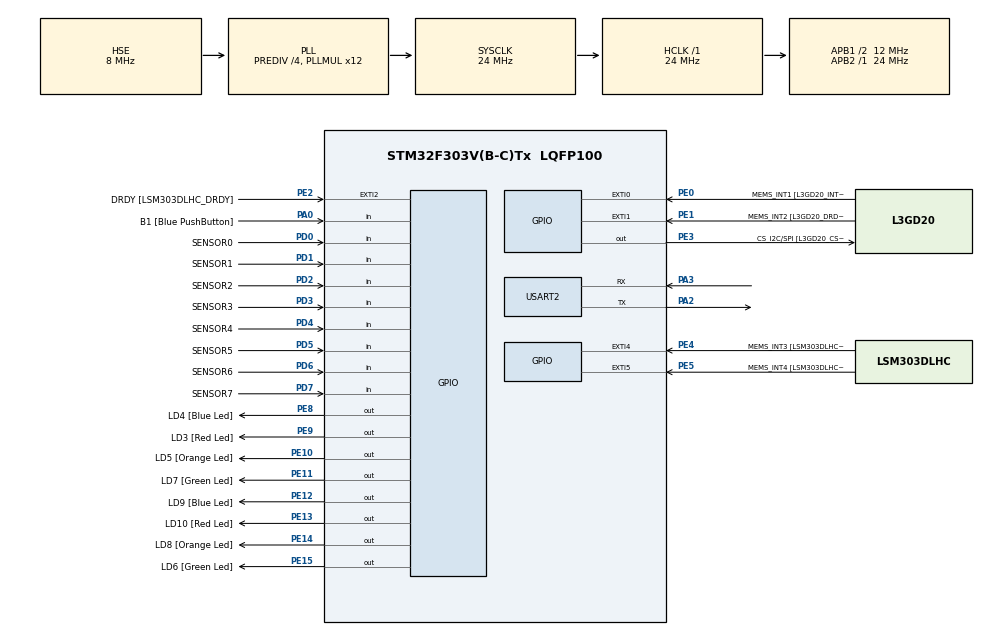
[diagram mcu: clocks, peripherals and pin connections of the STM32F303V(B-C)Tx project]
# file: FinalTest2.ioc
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Dma.Request0=USART2_RX
Dma.USART2_RX.0.Direction=DMA_PERIPH_TO_MEMORY
Dma.USART2_RX.0.Instance=DMA1_Channel6
Dma.USART2_RX.0.MemDataAlignment=DMA_MDATAALIGN_BYTE
Dma.USART2_RX.0.MemInc=DMA_MINC_ENABLE
Dma.USART2_RX.0.Mode=DMA_CIRCULAR
Dma.USART2_RX.0.PeriphDataAlignment=DMA_PDATAALIGN_BYTE
Dma.USART2_RX.0.PeriphInc=DMA_PINC_DISABLE
Dma.USART2_RX.0.Priority=DMA_PRIORITY_LOW
FREERTOS.BinarySemaphores01=myBinarySem01,Dynamic,NULL
FREERTOS.Tasks01=UartReciver,0,128,StartDefaultTask,Default,NULL,Dynamic,NULL,NULL
FREERTOS.Timers01=Refresher,RefreshCall,osTimerPeriodic,Default,NULL,Dynamic,NULL;Buzzertoggler,buzToggle,osTimerPeriodic,Default,NULL,Dynamic,NULL;UartSender,Callback03,osTimerPeriodic,Default,NULL,Dynamic,NULL
FREERTOS.configTOTAL_HEAP_SIZE=8192
FREERTOS.configUSE_TIMERS=1
Mcu.Family=STM32F3
Mcu.Name=STM32F303V(B-C)Tx
Mcu.Package=LQFP100
NVIC.DMA1_Channel6_IRQn=true\:5\:0\:false\:false\:true\:true\:false
NVIC.PriorityGroup=NVIC_PRIORITYGROUP_4
NVIC.TIM1_UP_TIM16_IRQn=true\:0\:0\:false\:false\:true\:false\:false
NVIC.TimeBase=TIM1_UP_TIM16_IRQn
NVIC.TimeBaseIP=TIM1
PA0.GPIO_Label=B1 [Blue PushButton]
PA0.GPIO_Mode=GPIO_MODE_INPUT
PA0.GPIO_PuPd=GPIO_NOPULL
PA0.Signal=GPIO_Input
PA11.GPIO_Label=DM
PA11.Signal=USB_DM
PA12.GPIO_Label=DP
PA12.Signal=USB_DP
PA13.GPIO_Label=SWDIO
PA13.Signal=SYS_JTMS-SWDIO
PA14.GPIO_Label=SWCLK
PA14.Signal=SYS_JTCK-SWCLK
PA2.Mode=Asynchronous
PA2.Signal=USART2_TX
PA3.Mode=Asynchronous
PA3.Signal=USART2_RX
PA5.GPIO_Label=SPI1_SCK [L3GD20_SCL/SPC]
PA5.GPIO_Mode=GPIO_MODE_AF_PP
PA5.GPIO_PuPd=GPIO_NOPULL
PA5.GPIO_Speed=GPIO_SPEED_FREQ_LOW
PA5.Signal=SPI1_SCK
PA6.GPIO_Label=SPI1_MISO [L3GD20_SA0/SDO]
PA6.GPIO_Mode=GPIO_MODE_AF_PP
PA6.GPIO_PuPd=GPIO_NOPULL
PA6.GPIO_Speed=GPIO_SPEED_FREQ_LOW
PA6.Signal=SPI1_MISO
PA7.GPIO_Label=SPI1_MISO [L3GD20_SDA/SDI/SDO]
PA7.GPIO_Mode=GPIO_MODE_AF_PP
PA7.GPIO_PuPd=GPIO_NOPULL
PA7.GPIO_Speed=GPIO_SPEED_FREQ_LOW
PA7.Signal=SPI1_MOSI
PB3.GPIO_Label=SWO
PB3.Signal=SYS_JTDO-TRACESWO
PB6.GPIO_FM6=__NULL
PB6.GPIO_Label=I2C1_SCL [LSM303DLHC_SCL]
PB6.GPIO_Mode=GPIO_MODE_AF_OD
PB6.GPIO_PuPd=GPIO_NOPULL
PB6.GPIO_Speed=GPIO_SPEED_FREQ_LOW
PB6.Signal=I2C1_SCL
PB7.GPIO_FM7=__NULL
PB7.GPIO_Label=I2C1_SDA [LSM303DLHC_SDA]
PB7.GPIO_Mode=GPIO_MODE_AF_OD
PB7.GPIO_PuPd=GPIO_NOPULL
PB7.GPIO_Speed=GPIO_SPEED_FREQ_LOW
PB7.Signal=I2C1_SDA
PC14-OSC32_IN.GPIO_Label=OSC32_IN
PC14-OSC32_IN.Signal=RCC_OSC32_IN
PC15-OSC32_OUT.GPIO_Label=OSC32_OUT
PC15-OSC32_OUT.Signal=RCC_OSC32_OUT
PD0.GPIO_Label=SENSOR0
PD0.GPIO_Mode=GPIO_MODE_INPUT
PD0.GPIO_PuPd=GPIO_PULLDOWN
PD0.Signal=GPIO_Input
PD1.GPIO_Label=SENSOR1
PD1.GPIO_Mode=GPIO_MODE_INPUT
PD1.GPIO_PuPd=GPIO_PULLDOWN
PD1.Signal=GPIO_Input
PD2.GPIO_Label=SENSOR2
PD2.GPIO_Mode=GPIO_MODE_INPUT
PD2.GPIO_PuPd=GPIO_PULLDOWN
PD2.Signal=GPIO_Input
PD3.GPIO_Label=SENSOR3
PD3.GPIO_Mode=GPIO_MODE_INPUT
PD3.GPIO_PuPd=GPIO_PULLDOWN
PD3.Signal=GPIO_Input
PD4.GPIO_Label=SENSOR4
PD4.GPIO_Mode=GPIO_MODE_INPUT
PD4.GPIO_PuPd=GPIO_PULLDOWN
PD4.Signal=GPIO_Input
PD5.GPIO_Label=SENSOR5
PD5.GPIO_Mode=GPIO_MODE_INPUT
PD5.GPIO_PuPd=GPIO_PULLDOWN
PD5.Signal=GPIO_Input
PD6.GPIO_Label=SENSOR6
PD6.GPIO_Mode=GPIO_MODE_INPUT
PD6.GPIO_PuPd=GPIO_PULLDOWN
PD6.Signal=GPIO_Input
PD7.GPIO_Label=SENSOR7
PD7.GPIO_Mode=GPIO_MODE_INPUT
PD7.GPIO_PuPd=GPIO_PULLDOWN
PD7.Signal=GPIO_Input
PE0.GPIO_Label=MEMS_INT1 [L3GD20_INT1]
PE0.GPIO_ModeDefaultEXTI=GPIO_MODE_EVT_RISING
PE0.GPIO_PuPd=GPIO_NOPULL
PE0.Signal=GPXTI0
PE1.GPIO_Label=MEMS_INT2 [L3GD20_DRDY/INT2]
PE1.GPIO_ModeDefaultEXTI=GPIO_MODE_EVT_RISING
PE1.GPIO_PuPd=GPIO_NOPULL
PE1.Signal=GPXTI1
PE10.GPIO_Label=LD5 [Orange Led]
PE10.GPIO_ModeDefaultOutputPP=GPIO_MODE_OUTPUT_PP
PE10.GPIO_PuPd=GPIO_NOPULL
PE10.GPIO_Speed=GPIO_SPEED_FREQ_LOW
PE10.Signal=GPIO_Output
PE11.GPIO_Label=LD7 [Green Led]
PE11.GPIO_ModeDefaultOutputPP=GPIO_MODE_OUTPUT_PP
PE11.GPIO_PuPd=GPIO_NOPULL
PE11.GPIO_Speed=GPIO_SPEED_FREQ_LOW
PE11.Signal=GPIO_Output
PE12.GPIO_Label=LD9 [Blue Led]
PE12.GPIO_ModeDefaultOutputPP=GPIO_MODE_OUTPUT_PP
PE12.GPIO_PuPd=GPIO_NOPULL
PE12.GPIO_Speed=GPIO_SPEED_FREQ_LOW
PE12.Signal=GPIO_Output
PE13.GPIO_Label=LD10 [Red Led]
PE13.GPIO_ModeDefaultOutputPP=GPIO_MODE_OUTPUT_PP
PE13.GPIO_PuPd=GPIO_NOPULL
PE13.GPIO_Speed=GPIO_SPEED_FREQ_LOW
PE13.Signal=GPIO_Output
PE14.GPIO_Label=LD8 [Orange Led]
PE14.GPIO_ModeDefaultOutputPP=GPIO_MODE_OUTPUT_PP
PE14.GPIO_PuPd=GPIO_NOPULL
PE14.GPIO_Speed=GPIO_SPEED_FREQ_LOW
PE14.Signal=GPIO_Output
PE15.GPIO_Label=LD6 [Green Led]
PE15.GPIO_ModeDefaultOutputPP=GPIO_MODE_OUTPUT_PP
PE15.GPIO_PuPd=GPIO_NOPULL
PE15.GPIO_Speed=GPIO_SPEED_FREQ_LOW
PE15.Signal=GPIO_Output
PE2.GPIO_Label=DRDY [LSM303DLHC_DRDY]
PE2.GPIO_ModeDefaultEXTI=GPIO_MODE_EVT_RISING
PE2.GPIO_PuPd=GPIO_NOPULL
PE2.Signal=GPXTI2
PE3.GPIO_Label=CS_I2C/SPI [L3GD20_CS_I2C/SPI]
PE3.GPIO_ModeDefaultOutputPP=GPIO_MODE_OUTPUT_PP
PE3.GPIO_PuPd=GPIO_NOPULL
PE3.GPIO_Speed=GPIO_SPEED_FREQ_LOW
PE3.Signal=GPIO_Output
PE4.GPIO_Label=MEMS_INT3 [LSM303DLHC_INT1]
PE4.GPIO_ModeDefaultEXTI=GPIO_MODE_EVT_RISING
PE4.GPIO_PuPd=GPIO_NOPULL
PE4.Signal=GPXTI4
PE5.GPIO_Label=MEMS_INT4 [LSM303DLHC_INT2]
PE5.GPIO_ModeDefaultEXTI=GPIO_MODE_EVT_RISING
PE5.GPIO_PuPd=GPIO_NOPULL
PE5.Signal=GPXTI5
PE8.GPIO_Label=LD4 [Blue Led]
PE8.GPIO_ModeDefaultOutputPP=GPIO_MODE_OUTPUT_PP
PE8.GPIO_PuPd=GPIO_NOPULL
PE8.GPIO_Speed=GPIO_SPEED_FREQ_LOW
PE8.Signal=GPIO_Output
PE9.GPIO_Label=LD3 [Red Led]
PE9.GPIO_ModeDefaultOutputPP=GPIO_MODE_OUTPUT_PP
PE9.GPIO_PuPd=GPIO_NOPULL
PE9.GPIO_Speed=GPIO_SPEED_FREQ_LOW
PE9.Signal=GPIO_Output
PF0-OSC_IN.GPIO_Label=OSC_IN
PF0-OSC_IN.Mode=HSE-External-Oscillator
PF0-OSC_IN.Signal=RCC_OSC_IN
PF1-OSC_OUT.GPIO_Label=OSC_OUT
PF1-OSC_OUT.Mode=HSE-External-Oscillator
PF1-OSC_OUT.Signal=RCC_OSC_OUT
ProjectManager.HeapSize=0x200
ProjectManager.StackSize=0x400
ProjectManager.TargetToolchain=SW4STM32
RCC.AHBFreq_Value=24000000
RCC.APB1CLKDivider=RCC_HCLK_DIV2
RCC.APB1Freq_Value=12000000
RCC.APB1TimFreq_Value=24000000
RCC.APB2Freq_Value=24000000
RCC.APB2TimFreq_Value=24000000
RCC.CortexFreq_Value=24000000
RCC.HCLKFreq_Value=24000000
RCC.HSE_VALUE=8000000
RCC.HSI_VALUE=8000000
RCC.LSE_VALUE=32768
RCC.PLLMUL=RCC_PLL_MUL12
RCC.PLLSourceVirtual=RCC_PLLSOURCE_HSE
RCC.RCC_PLLsource_Clock_Source_FROM_HSE=RCC_HSE_PREDIV_DIV4
RCC.SYSCLKFreq_VALUE=24000000
RCC.SYSCLKSourceVirtual=RCC_SYSCLKSOURCE_PLLCLK
RCC.USBFreq_Value=24000000
USART2.VirtualMode-Asynchronous=VM_ASYNC
VP_FREERTOS_VS_ENABLE.Mode=Enabled
VP_SYS_VS_tim1.Mode=TIM1
board=STM32F3DISCOVERY

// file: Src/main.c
/**
  ******************************************************************************
  * @file           : main.c
  * @brief          : Main program body
  ******************************************************************************
  * This notice applies to any and all portions of this file
  * that are not between comment pairs USER CODE BEGIN and
  * USER CODE END. Other portions of this file, whether
  * inserted by the user or by software development tools
  * are owned by their respective copyright owners.
  *
  * Copyright (c) 2561 STMicroelectronics International N.V.
  * All rights reserved.
  *
  * Redistribution and use in source and binary forms, with or without
  * modification, are permitted, provided that the following conditions are met:
  *
  * 1. Redistribution of source code must retain the above copyright notice,
  *    this list of conditions and the following disclaimer.
  * 2. Redistributions in binary form must reproduce the above copyright notice,
  *    this list of conditions and the following disclaimer in the documentation
  *    and/or other materials provided with the distribution.
  * 3. Neither the name of STMicroelectronics nor the names of other
  *    contributors to this software may be used to endorse or promote products
  *    derived from this software without specific written permission.
  * 4. This software, including modifications and/or derivative works of this
  *    software, must execute solely and exclusively on microcontroller or
  *    microprocessor devices manufactured by or for STMicroelectronics.
  * 5. Redistribution and use of this software other than as permitted under
  *    this license is void and will automatically terminate your rights under
  *    this license.
  *
  * THIS SOFTWARE IS PROVIDED BY STMICROELECTRONICS AND CONTRIBUTORS "AS IS"
  * AND ANY EXPRESS, IMPLIED OR STATUTORY WARRANTIES, INCLUDING, BUT NOT
  * LIMITED TO, THE IMPLIED WARRANTIES OF MERCHANTABILITY, FITNESS FOR A
  * PARTICULAR PURPOSE AND NON-INFRINGEMENT OF THIRD PARTY INTELLECTUAL PROPERTY
  * RIGHTS ARE DISCLAIMED TO THE FULLEST EXTENT PERMITTED BY LAW. IN NO EVENT
  * SHALL STMICROELECTRONICS OR CONTRIBUTORS BE LIABLE FOR ANY DIRECT, INDIRECT,
  * INCIDENTAL, SPECIAL, EXEMPLARY, OR CONSEQUENTIAL DAMAGES (INCLUDING, BUT NOT
  * LIMITED TO, PROCUREMENT OF SUBSTITUTE GOODS OR SERVICES; LOSS OF USE, DATA,
  * OR PROFITS; OR BUSINESS INTERRUPTION) HOWEVER CAUSED AND ON ANY THEORY OF
  * LIABILITY, WHETHER IN CONTRACT, STRICT LIABILITY, OR TORT (INCLUDING
  * NEGLIGENCE OR OTHERWISE) ARISING IN ANY WAY OUT OF THE USE OF THIS SOFTWARE,
  * EVEN IF ADVISED OF THE POSSIBILITY OF SUCH DAMAGE.
  *
  ******************************************************************************
  */
#include "main.h"
#include "stm32f3xx_hal.h"
#include "cmsis_os.h"

UART_HandleTypeDef huart2;
DMA_HandleTypeDef hdma_usart2_rx;

osThreadId UartReciverHandle;
osTimerId RefresherHandle;
osTimerId BuzzertogglerHandle;
osTimerId UartSenderHandle;
osSemaphoreId myBinarySem01Handle;

/* USER CODE BEGIN PV */
/* Private variables ---------------------------------------------------------*/

/* USER CODE END PV */

void SystemClock_Config(void);
static void MX_GPIO_Init(void);
static void MX_DMA_Init(void);
static void MX_USART2_UART_Init(void);
void StartDefaultTask(void const * argument);
void RefreshCall(void const * argument);
void buzToggle(void const * argument);
void Callback03(void const * argument);

/* USER CODE BEGIN PFP */
/* Private function prototypes -----------------------------------------------*/

/* USER CODE END PFP */

/* USER CODE BEGIN 0 */
char inboundRecive[2];
uint8_t sensorStatus[8];
uint8_t sensorAlarm[8];
int sensornum = 7;
uint8_t tog = 0;
/* USER CODE END 0 */

int main(void)
{

  /* MCU Configuration----------------------------------------------------------*/

  /* Reset of all peripherals, Initializes the Flash interface and the Systick. */
  HAL_Init();

  /* Configure the system clock */
  SystemClock_Config();

  /* Initialize all configured peripherals */
  MX_GPIO_Init();
  MX_DMA_Init();
  MX_USART2_UART_Init();

  /* Create the semaphores(s) */
  /* definition and creation of myBinarySem01 */
  osSemaphoreDef(myBinarySem01);
  myBinarySem01Handle = osSemaphoreCreate(osSemaphore(myBinarySem01), 1);

  /* Create the timer(s) */
  /* definition and creation of Refresher */
  osTimerDef(Refresher, RefreshCall);
  RefresherHandle = osTimerCreate(osTimer(Refresher), osTimerPeriodic, NULL);

  /* definition and creation of Buzzertoggler */
  osTimerDef(Buzzertoggler, buzToggle);
  BuzzertogglerHandle = osTimerCreate(osTimer(Buzzertoggler), osTimerPeriodic, NULL);

  /* definition and creation of UartSender */
  osTimerDef(UartSender, Callback03);
  UartSenderHandle = osTimerCreate(osTimer(UartSender), osTimerPeriodic, NULL);

  /* USER CODE BEGIN RTOS_TIMERS */
  /* start timers, add new ones, ... */
  osTimerStart(BuzzertogglerHandle,500);
  osTimerStart(RefresherHandle,1000);
  //osTimerStart(UartSenderHandle,1000);
  /* USER CODE END RTOS_TIMERS */

  /* Create the thread(s) */
  /* definition and creation of UartReciver */
  osThreadDef(UartReciver, StartDefaultTask, osPriorityNormal, 0, 128);
  UartReciverHandle = osThreadCreate(osThread(UartReciver), NULL);

  /* Start scheduler */
  osKernelStart();

  /* We should never get here as control is now taken by the scheduler */

  /* Infinite loop */
  while (1)
  {

  }

}

void SystemClock_Config(void)
{

  RCC_OscInitTypeDef RCC_OscInitStruct;
  RCC_ClkInitTypeDef RCC_ClkInitStruct;
  RCC_PeriphCLKInitTypeDef PeriphClkInit;

    /**Initializes the CPU, AHB and APB busses clocks
    */
  RCC_OscInitStruct.OscillatorType = RCC_OSCILLATORTYPE_HSE;
  RCC_OscInitStruct.HSEState = RCC_HSE_ON;
  RCC_OscInitStruct.HSEPredivValue = RCC_HSE_PREDIV_DIV4;
  RCC_OscInitStruct.HSIState = RCC_HSI_ON;
  RCC_OscInitStruct.PLL.PLLState = RCC_PLL_ON;
  RCC_OscInitStruct.PLL.PLLSource = RCC_PLLSOURCE_HSE;
  RCC_OscInitStruct.PLL.PLLMUL = RCC_PLL_MUL12;
  if (HAL_RCC_OscConfig(&RCC_OscInitStruct) != HAL_OK)
  {
    _Error_Handler(__FILE__, __LINE__);
  }

    /**Initializes the CPU, AHB and APB busses clocks
    */
  RCC_ClkInitStruct.ClockType = RCC_CLOCKTYPE_HCLK|RCC_CLOCKTYPE_SYSCLK
                              |RCC_CLOCKTYPE_PCLK1|RCC_CLOCKTYPE_PCLK2;
  RCC_ClkInitStruct.SYSCLKSource = RCC_SYSCLKSOURCE_PLLCLK;
  RCC_ClkInitStruct.AHBCLKDivider = RCC_SYSCLK_DIV1;
  RCC_ClkInitStruct.APB1CLKDivider = RCC_HCLK_DIV2;
  RCC_ClkInitStruct.APB2CLKDivider = RCC_HCLK_DIV1;

  if (HAL_RCC_ClockConfig(&RCC_ClkInitStruct, FLASH_LATENCY_0) != HAL_OK)
  {
    _Error_Handler(__FILE__, __LINE__);
  }

  PeriphClkInit.PeriphClockSelection = RCC_PERIPHCLK_USART2;
  PeriphClkInit.Usart2ClockSelection = RCC_USART2CLKSOURCE_PCLK1;
  if (HAL_RCCEx_PeriphCLKConfig(&PeriphClkInit) != HAL_OK)
  {
    _Error_Handler(__FILE__, __LINE__);
  }

    /**Configure the Systick interrupt time
    */
  HAL_SYSTICK_Config(HAL_RCC_GetHCLKFreq()/1000);

    /**Configure the Systick
    */
  HAL_SYSTICK_CLKSourceConfig(SYSTICK_CLKSOURCE_HCLK);

  /* SysTick_IRQn interrupt configuration */
  HAL_NVIC_SetPriority(SysTick_IRQn, 15, 0);
}

/* USART2 init function */
static void MX_USART2_UART_Init(void)
{

  huart2.Instance = USART2;
  huart2.Init.BaudRate = 38400;
  huart2.Init.WordLength = UART_WORDLENGTH_8B;
  huart2.Init.StopBits = UART_STOPBITS_1;
  huart2.Init.Parity = UART_PARITY_NONE;
  huart2.Init.Mode = UART_MODE_TX_RX;
  huart2.Init.HwFlowCtl = UART_HWCONTROL_NONE;
  huart2.Init.OverSampling = UART_OVERSAMPLING_16;
  huart2.Init.OneBitSampling = UART_ONE_BIT_SAMPLE_DISABLE;
  huart2.AdvancedInit.AdvFeatureInit = UART_ADVFEATURE_NO_INIT;
  if (HAL_UART_Init(&huart2) != HAL_OK)
  {
    _Error_Handler(__FILE__, __LINE__);
  }

}

static void MX_DMA_Init(void)
{
  /* DMA controller clock enable */
  __HAL_RCC_DMA1_CLK_ENABLE();

  /* DMA interrupt init */
  /* DMA1_Channel6_IRQn interrupt configuration */
  HAL_NVIC_SetPriority(DMA1_Channel6_IRQn, 5, 0);
  HAL_NVIC_EnableIRQ(DMA1_Channel6_IRQn);

}

/** Configure pins as
        * Analog
        * Input
        * Output
        * EVENT_OUT
        * EXTI
     PA5   ------> SPI1_SCK
     PA6   ------> SPI1_MISO
     PA7   ------> SPI1_MOSI
     PA11   ------> USB_DM
     PA12   ------> USB_DP
     PB6   ------> I2C1_SCL
     PB7   ------> I2C1_SDA
*/
static void MX_GPIO_Init(void)
{

  GPIO_InitTypeDef GPIO_InitStruct;

  /* GPIO Ports Clock Enable */
  __HAL_RCC_GPIOE_CLK_ENABLE();
  __HAL_RCC_GPIOC_CLK_ENABLE();
  __HAL_RCC_GPIOF_CLK_ENABLE();
  __HAL_RCC_GPIOA_CLK_ENABLE();
  __HAL_RCC_GPIOD_CLK_ENABLE();
  __HAL_RCC_GPIOB_CLK_ENABLE();

  /*Configure GPIO pin Output Level */
  HAL_GPIO_WritePin(GPIOE, CS_I2C_SPI_Pin|LD4_Pin|LD3_Pin|LD5_Pin
                          |LD7_Pin|LD9_Pin|LD10_Pin|LD8_Pin
                          |LD6_Pin, GPIO_PIN_RESET);

  /*Configure GPIO pins : DRDY_Pin MEMS_INT3_Pin MEMS_INT4_Pin MEMS_INT1_Pin
                           MEMS_INT2_Pin */
  GPIO_InitStruct.Pin = DRDY_Pin|MEMS_INT3_Pin|MEMS_INT4_Pin|MEMS_INT1_Pin
                          |MEMS_INT2_Pin;
  GPIO_InitStruct.Mode = GPIO_MODE_EVT_RISING;
  GPIO_InitStruct.Pull = GPIO_NOPULL;
  HAL_GPIO_Init(GPIOE, &GPIO_InitStruct);

  /*Configure GPIO pins : CS_I2C_SPI_Pin LD4_Pin LD3_Pin LD5_Pin
                           LD7_Pin LD9_Pin LD10_Pin LD8_Pin
                           LD6_Pin */
  GPIO_InitStruct.Pin = CS_I2C_SPI_Pin|LD4_Pin|LD3_Pin|LD5_Pin
                          |LD7_Pin|LD9_Pin|LD10_Pin|LD8_Pin
                          |LD6_Pin;
  GPIO_InitStruct.Mode = GPIO_MODE_OUTPUT_PP;
  GPIO_InitStruct.Pull = GPIO_NOPULL;
  GPIO_InitStruct.Speed = GPIO_SPEED_FREQ_LOW;
  HAL_GPIO_Init(GPIOE, &GPIO_InitStruct);

  /*Configure GPIO pin : B1_Pin */
  GPIO_InitStruct.Pin = B1_Pin;
  GPIO_InitStruct.Mode = GPIO_MODE_INPUT;
  GPIO_InitStruct.Pull = GPIO_NOPULL;
  HAL_GPIO_Init(B1_GPIO_Port, &GPIO_InitStruct);

  /*Configure GPIO pins : SPI1_SCK_Pin SPI1_MISO_Pin SPI1_MISOA7_Pin */
  GPIO_InitStruct.Pin = SPI1_SCK_Pin|SPI1_MISO_Pin|SPI1_MISOA7_Pin;
  GPIO_InitStruct.Mode = GPIO_MODE_AF_PP;
  GPIO_InitStruct.Pull = GPIO_NOPULL;
  GPIO_InitStruct.Speed = GPIO_SPEED_FREQ_LOW;
  GPIO_InitStruct.Alternate = GPIO_AF5_SPI1;
  HAL_GPIO_Init(GPIOA, &GPIO_InitStruct);

  /*Configure GPIO pins : DM_Pin DP_Pin */
  GPIO_InitStruct.Pin = DM_Pin|DP_Pin;
  GPIO_InitStruct.Mode = GPIO_MODE_AF_PP;
  GPIO_InitStruct.Pull = GPIO_NOPULL;
  GPIO_InitStruct.Speed = GPIO_SPEED_FREQ_HIGH;
  GPIO_InitStruct.Alternate = GPIO_AF14_USB;
  HAL_GPIO_Init(GPIOA, &GPIO_InitStruct);

  /*Configure GPIO pins : SENSOR0_Pin SENSOR1_Pin SENSOR2_Pin SENSOR3_Pin
                           SENSOR4_Pin SENSOR5_Pin SENSOR6_Pin SENSOR7_Pin */
  GPIO_InitStruct.Pin = SENSOR0_Pin|SENSOR1_Pin|SENSOR2_Pin|SENSOR3_Pin
                          |SENSOR4_Pin|SENSOR5_Pin|SENSOR6_Pin|SENSOR7_Pin;
  GPIO_InitStruct.Mode = GPIO_MODE_INPUT;
  GPIO_InitStruct.Pull = GPIO_PULLDOWN;
  HAL_GPIO_Init(GPIOD, &GPIO_InitStruct);

  /*Configure GPIO pins : I2C1_SCL_Pin I2C1_SDA_Pin */
  GPIO_InitStruct.Pin = I2C1_SCL_Pin|I2C1_SDA_Pin;
  GPIO_InitStruct.Mode = GPIO_MODE_AF_OD;
  GPIO_InitStruct.Pull = GPIO_PULLUP;
  GPIO_InitStruct.Speed = GPIO_SPEED_FREQ_LOW;
  GPIO_InitStruct.Alternate = GPIO_AF4_I2C1;
  HAL_GPIO_Init(GPIOB, &GPIO_InitStruct);

}

/* USER CODE BEGIN 4 */
void HAL_UART_RxCpltCallback(UART_HandleTypeDef *huart){
	/*OPCODE:
	 * A: Activate Alarm
	 * D: Deactivate Alarm
	 * NUM: Sensor ID
	 */
	char strOpcode = inboundRecive[0];
	char strNum = inboundRecive[1];
	sensornum = strNum - 48;
	if (strOpcode == 'A'){
		sensorAlarm[sensornum] = 1;
	}
	else if(strOpcode == 'D'){
		sensorAlarm[sensornum] = 0;
	}
	else if(strOpcode == 'S'){
		if(sensornum == 1){
			osTimerStart(UartSenderHandle,1000);
		}
		if(sensornum == 0){
			osTimerStop(UartSenderHandle);
		}
	}

}
/* USER CODE END 4 */

/* StartDefaultTask function */
void StartDefaultTask(void const * argument)
{

  /* USER CODE BEGIN 5 */
  /* Infinite loop */
  for(;;)
  {
	 HAL_UART_Receive_DMA(&huart2,inboundRecive,2);
    osDelay(1);
  }
  /* USER CODE END 5 */
}

/* RefreshCall function */
void RefreshCall(void const * argument)
{
  /* USER CODE BEGIN RefreshCall */
	sensorStatus[0] = HAL_GPIO_ReadPin(GPIOD,SENSOR0_Pin);
	sensorStatus[1] = HAL_GPIO_ReadPin(GPIOD,SENSOR1_Pin);
	sensorStatus[2] = HAL_GPIO_ReadPin(GPIOD,SENSOR2_Pin);
	sensorStatus[3] = HAL_GPIO_ReadPin(GPIOD,SENSOR3_Pin);
	sensorStatus[4] = HAL_GPIO_ReadPin(GPIOD,SENSOR4_Pin);
	sensorStatus[5] = HAL_GPIO_ReadPin(GPIOD,SENSOR5_Pin);
	sensorStatus[6] = HAL_GPIO_ReadPin(GPIOD,SENSOR6_Pin);
	sensorStatus[7] = HAL_GPIO_ReadPin(GPIOD,SENSOR7_Pin);
	HAL_GPIO_TogglePin(GPIOE,LD10_Pin);

  /* USER CODE END RefreshCall */
}

/* buzToggle function */
void buzToggle(void const * argument)
{
  /* USER CODE BEGIN buzToggle */
	tog = (tog + 1)%2;
	HAL_GPIO_TogglePin(GPIOE,LD9_Pin);
	HAL_GPIO_WritePin(GPIOE,LD3_Pin,sensorAlarm[1]&&tog);
	HAL_GPIO_WritePin(GPIOE,LD4_Pin,sensorAlarm[2]&&tog);
  /* USER CODE END buzToggle */
}

/* Callback03 function */
void Callback03(void const * argument)
{
  /* USER CODE BEGIN Callback03 */
  HAL_UART_Transmit(&huart2,sensorStatus,8,5);
  /* USER CODE END Callback03 */
}

void HAL_TIM_PeriodElapsedCallback(TIM_HandleTypeDef *htim)
{
  if (htim->Instance == TIM1) {
    HAL_IncTick();
  }
}

void _Error_Handler(char *file, int line)
{
  while(1)
  {
  }
}

/************************ (C) COPYRIGHT STMicroelectronics *****END OF FILE****/
